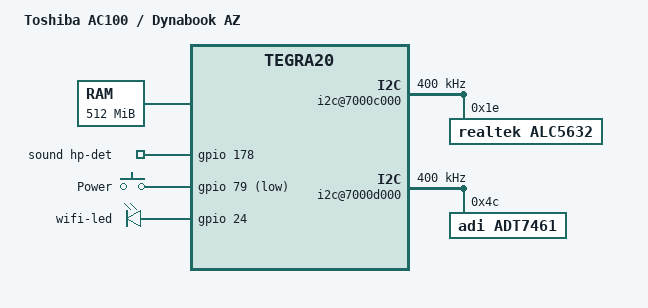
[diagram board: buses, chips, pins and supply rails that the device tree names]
/dts-v1/;

/include/ "tegra20.dtsi"

/ {
	model = "Toshiba AC100 / Dynabook AZ";
	compatible = "compal,paz00", "nvidia,tegra20";

	memory@0 {
		reg = <0x00000000 0x20000000>;
	};

	i2c@7000c000 {
		clock-frequency = <400000>;

		alc5632: alc5632@1e {
			compatible = "realtek,alc5632";
			reg = <0x1e>;
			gpio-controller;
			#gpio-cells = <2>;
		};
	};

	i2c@7000c400 {
		clock-frequency = <400000>;
	};

	i2c@7000c500 {
		status = "disable";
	};

	nvec@7000c500 {
		#address-cells = <1>;
		#size-cells = <0>;
		compatible = "nvidia,nvec";
		reg = <0x7000C500 0x100>;
		interrupts = <0 92 0x04>;
		clock-frequency = <80000>;
		request-gpios = <&gpio 170 0>;
		slave-addr = <138>;
	};

	i2c@7000d000 {
		clock-frequency = <400000>;

		adt7461@4c {
			compatible = "adi,adt7461";
			reg = <0x4c>;
		};
	};

	i2s@70002a00 {
		status = "disable";
	};

	sound {
		compatible = "nvidia,tegra-audio-alc5632-paz00",
			"nvidia,tegra-audio-alc5632";

		nvidia,model = "Compal PAZ00";

		nvidia,audio-routing =
			"Int Spk", "SPKOUT",
			"Int Spk", "SPKOUTN",
			"Headset Mic", "MICBIAS1",
			"MIC1", "Headset Mic",
			"Headset Stereophone", "HPR",
			"Headset Stereophone", "HPL",
			"DMICDAT", "Digital Mic";

		nvidia,audio-codec = <&alc5632>;
		nvidia,i2s-controller = <&tegra_i2s1>;
		nvidia,hp-det-gpios = <&gpio 178 0>; /* gpio PW2 */
	};

	serial@70006000 {
		clock-frequency = <216000000>;
	};

	serial@70006040 {
		status = "disable";
	};

	serial@70006200 {
		clock-frequency = <216000000>;
	};

	serial@70006300 {
		status = "disable";
	};

	serial@70006400 {
		status = "disable";
	};

	sdhci@c8000000 {
		cd-gpios = <&gpio 173 0>; /* gpio PV5 */
		wp-gpios = <&gpio 57 0>;  /* gpio PH1 */
		power-gpios = <&gpio 169 0>; /* gpio PV1 */
	};

	sdhci@c8000200 {
		status = "disable";
	};

	sdhci@c8000400 {
		status = "disable";
	};

	sdhci@c8000600 {
		support-8bit;
	};

	gpio-keys {
		compatible = "gpio-keys";

		power {
			label = "Power";
			gpios = <&gpio 79 1>; /* gpio PJ7, active low */
			linux,code = <116>; /* KEY_POWER */
			gpio-key,wakeup;
		};
	};

	gpio-leds {
		compatible = "gpio-leds";

		wifi {
			label = "wifi-led";
			gpios = <&gpio 24 0>;
			linux,default-trigger = "rfkill0";
		};
	};
};
